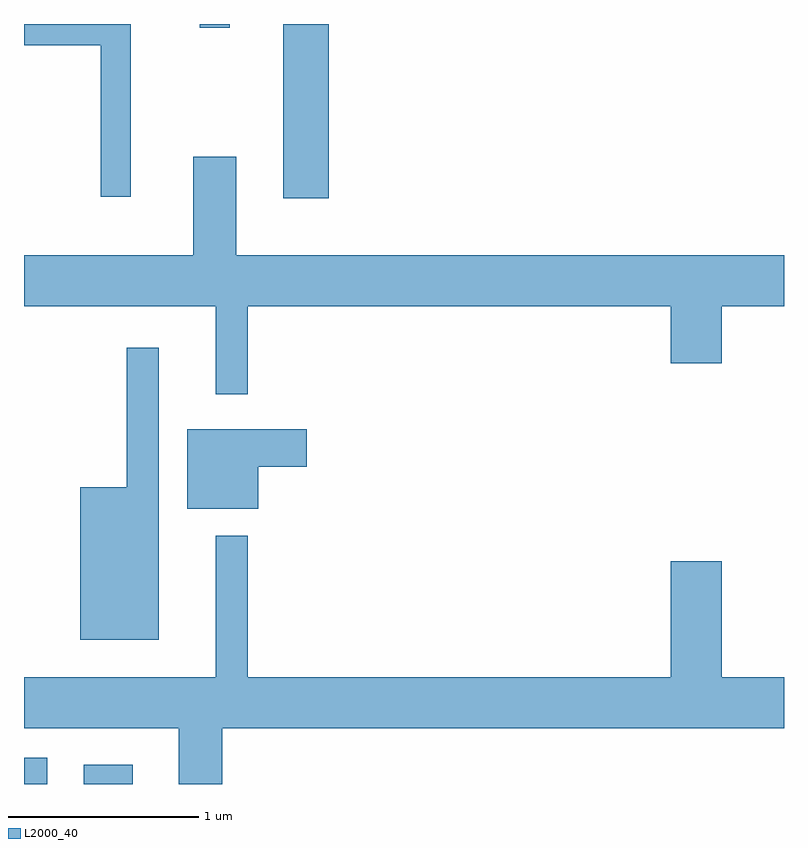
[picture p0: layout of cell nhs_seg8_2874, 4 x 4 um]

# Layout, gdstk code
import gdstk
lib = gdstk.Library(unit=1e-6, precision=1e-09)
def R(c, l, rs):  # rectangles x0, y0, x1, y1
    for r in rs: c.add(gdstk.rectangle(r[:2], r[2:], *l))
def P(c, l, *ps):  # polygons
    for p in ps: c.add(gdstk.Polygon(p, *l))
L2000_40 = (2000, 40)

nhs_seg8_2874 = lib.new_cell('nhs_seg8_2874')
R(nhs_seg8_2874, L2000_40, [(271.611,1838.342,271.734,1838.479), (271.926,1838.342,272.184,1838.444), (272.976,1841.426,273.214,1842.342), (272.536,1842.323,272.694,1842.342)])
P(nhs_seg8_2874, L2000_40, [(272.174,1842.342),(271.611,1842.342),(271.611,1842.231),(272.016,1842.231),(272.016,1841.433),(272.174,1841.433)],
  [(272.789,1840.856),(275.016,1840.856),(275.016,1840.556),(275.284,1840.556),(275.284,1840.856),(275.611,1840.856),(275.611,1841.124),(272.729,1841.124),(272.729,1841.644),(272.501,1841.644),(272.501,1841.124),(271.611,1841.124),(271.611,1840.856),(272.621,1840.856),(272.621,1840.393),(272.789,1840.393)],
  [(272.319,1840.638),(272.151,1840.638),(272.151,1839.904),(271.906,1839.904),(271.906,1839.101),(272.319,1839.101)],
  [(272.844,1840.011),(273.099,1840.011),(273.099,1840.209),(272.471,1840.209),(272.471,1839.791),(272.844,1839.791)],
  [(272.654,1838.636),(275.611,1838.636),(275.611,1838.904),(275.284,1838.904),(275.284,1839.514),(275.016,1839.514),(275.016,1838.904),(272.789,1838.904),(272.789,1839.648),(272.621,1839.648),(272.621,1838.904),(271.611,1838.904),(271.611,1838.636),(272.426,1838.636),(272.426,1838.342),(272.654,1838.342)])

lib.write_gds('nhs_seg8_2874.gds')
